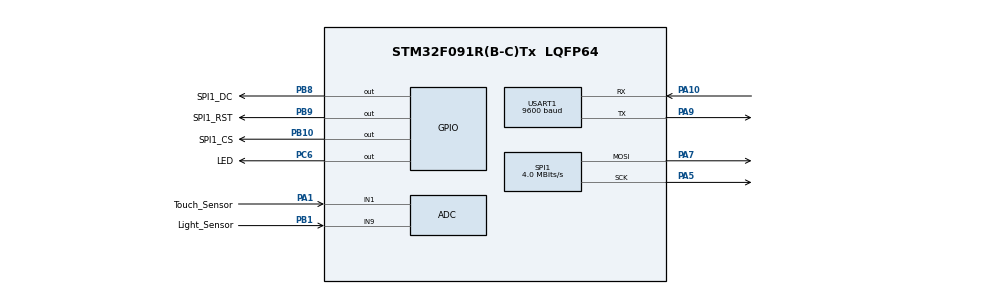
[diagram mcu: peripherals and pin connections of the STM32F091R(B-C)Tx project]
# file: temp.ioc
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ADC.AWD1LowThreshold=0
ADC.ContinuousConvMode=ENABLE
ADC.EOCSelection=ADC_EOC_SINGLE_CONV
ADC.EnableAnalogWatchDog=false
Mcu.Family=STM32F0
Mcu.Name=STM32F091R(B-C)Tx
Mcu.Package=LQFP64
NVIC.ADC1_COMP_IRQn=true\:0\:0\:false\:false\:true\:true\:true\:true
NVIC.USART1_IRQn=true\:0\:0\:false\:false\:true\:true\:true\:true
PA1.GPIO_Label=Touch_Sensor
PA1.Signal=SharedAnalog_PA1
PA10.Mode=Asynchronous
PA10.Signal=USART1_RX
PA5.Mode=TX_Only_Simplex_Unidirect_Master
PA5.Signal=SPI1_SCK
PA7.Mode=TX_Only_Simplex_Unidirect_Master
PA7.Signal=SPI1_MOSI
PA9.Mode=Asynchronous
PA9.Signal=USART1_TX
PB1.GPIO_Label=Light_Sensor
PB1.Signal=SharedAnalog_PB1
PB10.GPIO_Label=SPI1_CS
PB10.Signal=GPIO_Output
PB8.GPIO_Label=SPI1_DC
PB8.Signal=GPIO_Output
PB9.GPIO_Label=SPI1_RST
PB9.Signal=GPIO_Output
PC6.GPIO_Label=LED
PC6.Signal=GPIO_Output
ProjectManager.HeapSize=0x200
ProjectManager.StackSize=0x400
ProjectManager.TargetToolchain=STM32CubeIDE
SH.SharedAnalog_PA1.0=GPIO_Analog
SH.SharedAnalog_PA1.1=ADC_IN1,IN1
SH.SharedAnalog_PB1.0=GPIO_Analog
SH.SharedAnalog_PB1.1=ADC_IN9,IN9
SPI1.CalculateBaudRate=4.0 MBits/s
SPI1.DataSize=SPI_DATASIZE_8BIT
SPI1.Direction=SPI_DIRECTION_2LINES
SPI1.Mode=SPI_MODE_MASTER
SPI1.VirtualType=VM_MASTER
USART1.BaudRate=9600
USART1.VirtualMode-Asynchronous=VM_ASYNC
board=custom

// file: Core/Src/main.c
/* USER CODE BEGIN Header */
/**
  ******************************************************************************
  * @file           : main.c
  * @brief          : Main program body
  ******************************************************************************
  * @attention
  *
  * Copyright (c) 2025 STMicroelectronics.
  * All rights reserved.
  *
  * This software is licensed under terms that can be found in the LICENSE file
  * in the root directory of this software component.
  * If no LICENSE file comes with this software, it is provided AS-IS.
  *
  ******************************************************************************
  */
/* USER CODE END Header */
#include "main.h"

/* USER CODE BEGIN Includes */
#include "ssd1306_fonts.h"
#include <string.h>
#include <stdio.h>
#include "ssd1306.h"
#include <stdlib.h>
/* USER CODE END Includes */

ADC_HandleTypeDef hadc;

SPI_HandleTypeDef hspi1;

UART_HandleTypeDef huart1;

/* USER CODE BEGIN PV */
#define GPS_BUFFER_SIZE 128
uint8_t gps_rx_byte;
char gps_buffer[GPS_BUFFER_SIZE];
uint8_t gps_index = 0;

uint8_t hour, minute, second;
uint8_t satellites;
double latitude, longitude;
float speed_knots, speed_mph;
float altitude_m;

/* USER CODE END PV */

void SystemClock_Config(void);
static void MX_GPIO_Init(void);
static void MX_SPI1_Init(void);
static void MX_USART1_UART_Init(void);
static void MX_ADC_Init(void);

/* USER CODE BEGIN 0 */
void Display_Write(uint8_t cmd) {
    HAL_GPIO_WritePin(DISP_DC_PORT, DISP_DC, GPIO_PIN_RESET); // command mode
    HAL_GPIO_WritePin(DISP_CS_PORT, DISP_CS, GPIO_PIN_RESET); // select display
    HAL_SPI_Transmit(&hspi1, &cmd, 1, HAL_MAX_DELAY); // send command
    HAL_GPIO_WritePin(DISP_CS_PORT, DISP_CS, GPIO_PIN_SET); // deselect display
}

// convert NMEA (ddmm.mmmm) to lat/lon degrees
double nmea_to_decimal(const char* nmea, char dir) {
	double val = atof(nmea); // string to double
	int degrees = (int)(val / 100);
	double minutes = val - degrees * 100;
	double dec = degrees + minutes / 60.0;
	if(dir == 'S' || dir == 'W') dec = -dec; // convention-may want to keep letters later
	return dec;
}

void parse_GPGGA(char* sentence) {
	char* token;
	int field = 0;
	char lat[16], lon[16], ns, ew, alt[16], sat[4];

	token = strtok(sentence, ",");
	while(token) {
		field++;
		switch(field) {
			case 2: break;
			case 3: strcpy(lat, token); break;
			case 4: ns = token[0]; break;
			case 5: strcpy(lon, token); break;
			case 6: ew = token[0]; break;
			case 7: strcpy(sat, token); break;
			case 10: strcpy(alt, token); break;
		}
		token = strtok(NULL, ",");
	}
	latitude = nmea_to_decimal(lat, ns);
	longitude = nmea_to_decimal(lon, ew);
	satellites = (uint8_t)atoi(sat);
	altitude_m = atof(alt);
}

void parse_GPRMC(char* sentence) {
	char* token;
	int field = 0;
	char time_str[16], speed[16];

	token = strtok(sentence, ",");
	while(token) {
		field++;
		switch(field) {
			case 2: strcpy(time_str, token); break;
			case 8: strcpy(speed, token); break;
		}
		token = strtok(NULL, ",");
	}
	char h[3], m[3], s[3];
	strncpy(h, time_str, 2); h[2] = '\0';
	strncpy(m, time_str+2, 2); m[2] = '\0';
	strncpy(s, time_str+4, 2); s[2] = '\0';
	hour = atoi(h);
	minute = atoi(m);
	second = atoi(s);
	speed_knots = atof(speed);
	speed_mph = speed_knots * 1.150779;
}

// called when UART receive completes in interrupt mode
void HAL_UART_RxCpltCallback(UART_HandleTypeDef *huart) {
	if(huart->Instance == USART1) {
		if(gps_rx_byte == '\n') {
			gps_buffer[gps_index] = '\0';
			if(strncmp(gps_buffer, "$GPGGA", 6) == 0) parse_GPGGA(gps_buffer);
			else if(strncmp(gps_buffer, "$GPRMC", 6) == 0) parse_GPRMC(gps_buffer);
			gps_index = 0;
		} else if(gps_index < GPS_BUFFER_SIZE - 1) {
			gps_buffer[gps_index++] = gps_rx_byte;
		}
		HAL_UART_Receive_IT(&huart1, &gps_rx_byte, 1);
	}
}

/* USER CODE END 0 */

int main(void)
{

  /* MCU Configuration--------------------------------------------------------*/

  /* Reset of all peripherals, Initializes the Flash interface and the Systick. */
  HAL_Init();

  /* Configure the system clock */
  SystemClock_Config();

  /* Initialize all configured peripherals */
  MX_GPIO_Init();
  MX_SPI1_Init();
  MX_USART1_UART_Init();
  MX_ADC_Init();
  /* USER CODE BEGIN 2 */

  ssd1306_Init();
  // Start UART receive interrupt
  HAL_UART_Receive_IT(&huart1, &gps_rx_byte, 1);

  /* USER CODE END 2 */

  /* Infinite loop */
  while (1)
  {

    /* USER CODE BEGIN 3 */

	 // display time and speed on first two lines
	 char buf[32];
	 sprintf(buf, "%.2f mph", speed_mph);
	 ssd1306_SetCursor(35, 30);
	 ssd1306_WriteString(buf, Font_6x8, White);

	 sprintf(buf, "%02d:%02d:%02d", hour, minute, second);
	 ssd1306_SetCursor(35, 20);
	 ssd1306_WriteString(buf, Font_6x8, White);

	 // display number of satellites and altitude on next two lines
//	 sprintf(buf, "Sat: %d", satellites);
//	 ssd1306_SetCursor(35, 40);
//	 ssd1306_WriteString(buf, Font_6x8, White);

 //	 sprintf(buf, "Alt: %.1f", altitude_m);
 //	 ssd1306_SetCursor(35, 50);
 //	 ssd1306_WriteString(buf, Font_6x8, White);

	 // display coords
	 sprintf(buf, "%.1f|%.1f", latitude, longitude);
	 ssd1306_SetCursor(35, 40);
	 ssd1306_WriteString(buf, Font_6x8, White);

	 // get values from 2 ADC channels
	 HAL_ADC_Start(&hadc);
     HAL_ADC_PollForConversion(&hadc, HAL_MAX_DELAY);
     uint32_t adcLight = HAL_ADC_GetValue(&hadc);
     HAL_ADC_PollForConversion(&hadc, HAL_MAX_DELAY);
     uint32_t adcTouch = HAL_ADC_GetValue(&hadc);
     HAL_ADC_Stop(&hadc); // might not be needed

     // modify display brightness in three stages based on observed thresholds - tune up later
     if (adcLight > 3500) {
		 Display_Write(0x81); // set contrast/brightness
		 Display_Write(0xFF); // max brightness
     } else if (adcLight > 3000) {
    	 Display_Write(0x81); // set contrast/brightness
    	 Display_Write(0x7F); // medium brightness
     } else {
    	 Display_Write(0x81); // set contrast/brightness
    	 Display_Write(0x00); // lowest brightness
     }

     // display light and touch sensor values for observation
	 sprintf(buf, "%lu %lu", adcLight, adcTouch);
	 ssd1306_SetCursor(35, 50);
	 ssd1306_WriteString(buf, Font_6x8, White);

	 ssd1306_UpdateScreen();
	 HAL_Delay(1000);
  }
  /* USER CODE END 3 */
}

void SystemClock_Config(void)
{
  RCC_OscInitTypeDef RCC_OscInitStruct = {0};
  RCC_ClkInitTypeDef RCC_ClkInitStruct = {0};
  RCC_PeriphCLKInitTypeDef PeriphClkInit = {0};

  /** Initializes the RCC Oscillators according to the specified parameters
  * in the RCC_OscInitTypeDef structure.
  */
  RCC_OscInitStruct.OscillatorType = RCC_OSCILLATORTYPE_HSI|RCC_OSCILLATORTYPE_HSI14;
  RCC_OscInitStruct.HSIState = RCC_HSI_ON;
  RCC_OscInitStruct.HSI14State = RCC_HSI14_ON;
  RCC_OscInitStruct.HSICalibrationValue = RCC_HSICALIBRATION_DEFAULT;
  RCC_OscInitStruct.HSI14CalibrationValue = 16;
  RCC_OscInitStruct.PLL.PLLState = RCC_PLL_NONE;
  if (HAL_RCC_OscConfig(&RCC_OscInitStruct) != HAL_OK)
  {
    Error_Handler();
  }

  /** Initializes the CPU, AHB and APB buses clocks
  */
  RCC_ClkInitStruct.ClockType = RCC_CLOCKTYPE_HCLK|RCC_CLOCKTYPE_SYSCLK
                              |RCC_CLOCKTYPE_PCLK1;
  RCC_ClkInitStruct.SYSCLKSource = RCC_SYSCLKSOURCE_HSI;
  RCC_ClkInitStruct.AHBCLKDivider = RCC_SYSCLK_DIV1;
  RCC_ClkInitStruct.APB1CLKDivider = RCC_HCLK_DIV1;

  if (HAL_RCC_ClockConfig(&RCC_ClkInitStruct, FLASH_LATENCY_0) != HAL_OK)
  {
    Error_Handler();
  }
  PeriphClkInit.PeriphClockSelection = RCC_PERIPHCLK_USART1;
  PeriphClkInit.Usart1ClockSelection = RCC_USART1CLKSOURCE_PCLK1;
  if (HAL_RCCEx_PeriphCLKConfig(&PeriphClkInit) != HAL_OK)
  {
    Error_Handler();
  }
}

static void MX_ADC_Init(void)
{

  ADC_ChannelConfTypeDef sConfig = {0};

  /** Configure the global features of the ADC (Clock, Resolution, Data Alignment and number of conversion)
  */
  hadc.Instance = ADC1;
  hadc.Init.ClockPrescaler = ADC_CLOCK_ASYNC_DIV1;
  hadc.Init.Resolution = ADC_RESOLUTION_12B;
  hadc.Init.DataAlign = ADC_DATAALIGN_RIGHT;
  hadc.Init.ScanConvMode = ADC_SCAN_DIRECTION_FORWARD;
  hadc.Init.EOCSelection = ADC_EOC_SINGLE_CONV;
  hadc.Init.LowPowerAutoWait = DISABLE;
  hadc.Init.LowPowerAutoPowerOff = DISABLE;
  hadc.Init.ContinuousConvMode = ENABLE;
  hadc.Init.DiscontinuousConvMode = DISABLE;
  hadc.Init.ExternalTrigConv = ADC_SOFTWARE_START;
  hadc.Init.ExternalTrigConvEdge = ADC_EXTERNALTRIGCONVEDGE_NONE;
  hadc.Init.DMAContinuousRequests = DISABLE;
  hadc.Init.Overrun = ADC_OVR_DATA_PRESERVED;
  if (HAL_ADC_Init(&hadc) != HAL_OK)
  {
    Error_Handler();
  }

  /** Configure for the selected ADC regular channel to be converted.
  */
  sConfig.Channel = ADC_CHANNEL_1;
  sConfig.Rank = ADC_RANK_CHANNEL_NUMBER;
  sConfig.SamplingTime = ADC_SAMPLETIME_1CYCLE_5;
  if (HAL_ADC_ConfigChannel(&hadc, &sConfig) != HAL_OK)
  {
    Error_Handler();
  }

  /** Configure for the selected ADC regular channel to be converted.
  */
  sConfig.Channel = ADC_CHANNEL_9;
  if (HAL_ADC_ConfigChannel(&hadc, &sConfig) != HAL_OK)
  {
    Error_Handler();
  }

}

static void MX_SPI1_Init(void)
{

  /* SPI1 parameter configuration*/
  hspi1.Instance = SPI1;
  hspi1.Init.Mode = SPI_MODE_MASTER;
  hspi1.Init.Direction = SPI_DIRECTION_2LINES;
  hspi1.Init.DataSize = SPI_DATASIZE_8BIT;
  hspi1.Init.CLKPolarity = SPI_POLARITY_LOW;
  hspi1.Init.CLKPhase = SPI_PHASE_1EDGE;
  hspi1.Init.NSS = SPI_NSS_SOFT;
  hspi1.Init.BaudRatePrescaler = SPI_BAUDRATEPRESCALER_2;
  hspi1.Init.FirstBit = SPI_FIRSTBIT_MSB;
  hspi1.Init.TIMode = SPI_TIMODE_DISABLE;
  hspi1.Init.CRCCalculation = SPI_CRCCALCULATION_DISABLE;
  hspi1.Init.CRCPolynomial = 7;
  hspi1.Init.CRCLength = SPI_CRC_LENGTH_DATASIZE;
  hspi1.Init.NSSPMode = SPI_NSS_PULSE_ENABLE;
  if (HAL_SPI_Init(&hspi1) != HAL_OK)
  {
    Error_Handler();
  }

}

static void MX_USART1_UART_Init(void)
{

  huart1.Instance = USART1;
  huart1.Init.BaudRate = 9600;
  huart1.Init.WordLength = UART_WORDLENGTH_8B;
  huart1.Init.StopBits = UART_STOPBITS_1;
  huart1.Init.Parity = UART_PARITY_NONE;
  huart1.Init.Mode = UART_MODE_TX_RX;
  huart1.Init.HwFlowCtl = UART_HWCONTROL_NONE;
  huart1.Init.OverSampling = UART_OVERSAMPLING_16;
  huart1.Init.OneBitSampling = UART_ONE_BIT_SAMPLE_DISABLE;
  huart1.AdvancedInit.AdvFeatureInit = UART_ADVFEATURE_NO_INIT;
  if (HAL_UART_Init(&huart1) != HAL_OK)
  {
    Error_Handler();
  }

}

static void MX_GPIO_Init(void)
{
  GPIO_InitTypeDef GPIO_InitStruct = {0};

  /* GPIO Ports Clock Enable */
  __HAL_RCC_GPIOA_CLK_ENABLE();
  __HAL_RCC_GPIOB_CLK_ENABLE();
  __HAL_RCC_GPIOC_CLK_ENABLE();

  /*Configure GPIO pin Output Level */
  HAL_GPIO_WritePin(GPIOB, SPI1_CS_Pin|SPI1_DC_Pin|SPI1_RST_Pin, GPIO_PIN_RESET);

  /*Configure GPIO pin Output Level */
  HAL_GPIO_WritePin(LED_GPIO_Port, LED_Pin, GPIO_PIN_RESET);

  /*Configure GPIO pins : SPI1_CS_Pin SPI1_DC_Pin SPI1_RST_Pin */
  GPIO_InitStruct.Pin = SPI1_CS_Pin|SPI1_DC_Pin|SPI1_RST_Pin;
  GPIO_InitStruct.Mode = GPIO_MODE_OUTPUT_PP;
  GPIO_InitStruct.Pull = GPIO_NOPULL;
  GPIO_InitStruct.Speed = GPIO_SPEED_FREQ_LOW;
  HAL_GPIO_Init(GPIOB, &GPIO_InitStruct);

  /*Configure GPIO pin : LED_Pin */
  GPIO_InitStruct.Pin = LED_Pin;
  GPIO_InitStruct.Mode = GPIO_MODE_OUTPUT_PP;
  GPIO_InitStruct.Pull = GPIO_NOPULL;
  GPIO_InitStruct.Speed = GPIO_SPEED_FREQ_LOW;
  HAL_GPIO_Init(LED_GPIO_Port, &GPIO_InitStruct);

}

void Error_Handler(void)
{
  __disable_irq();
  while (1)
  {
  }
}
